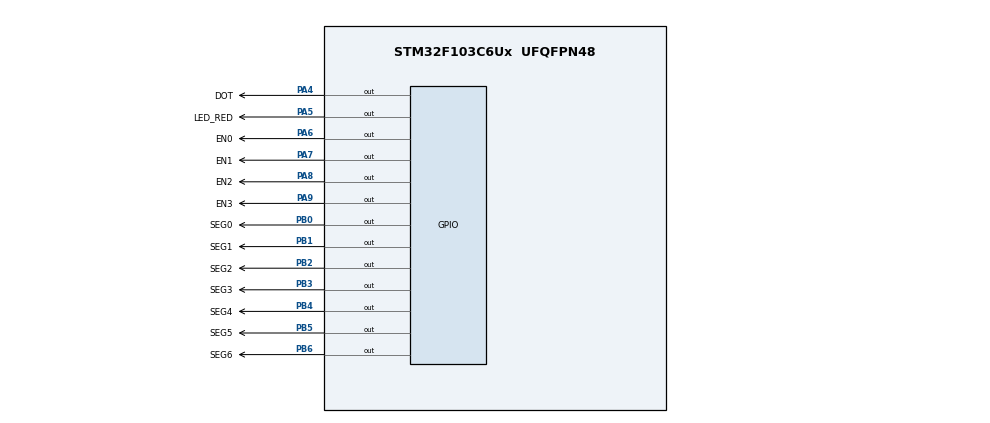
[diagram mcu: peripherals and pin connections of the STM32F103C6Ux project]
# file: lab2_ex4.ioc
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Mcu.Family=STM32F1
Mcu.Name=STM32F103C6Ux
Mcu.Package=UFQFPN48
NVIC.PriorityGroup=NVIC_PRIORITYGROUP_4
NVIC.TIM2_IRQn=true\:0\:0\:false\:false\:true\:true\:true
PA4.GPIO_Label=DOT
PA4.Signal=GPIO_Output
PA5.GPIO_Label=LED_RED
PA5.Signal=GPIO_Output
PA6.GPIO_Label=EN0
PA6.Signal=GPIO_Output
PA7.GPIO_Label=EN1
PA7.Signal=GPIO_Output
PA8.GPIO_Label=EN2
PA8.Signal=GPIO_Output
PA9.GPIO_Label=EN3
PA9.Signal=GPIO_Output
PB0.GPIO_Label=SEG0
PB0.Signal=GPIO_Output
PB1.GPIO_Label=SEG1
PB1.Signal=GPIO_Output
PB2.GPIO_Label=SEG2
PB2.Signal=GPIO_Output
PB3.GPIO_Label=SEG3
PB3.Signal=GPIO_Output
PB4.GPIO_Label=SEG4
PB4.Signal=GPIO_Output
PB5.GPIO_Label=SEG5
PB5.Signal=GPIO_Output
PB6.GPIO_Label=SEG6
PB6.Signal=GPIO_Output
ProjectManager.HeapSize=0x200
ProjectManager.StackSize=0x400
ProjectManager.TargetToolchain=STM32CubeIDE
RCC.APB1Freq_Value=8000000
RCC.APB2Freq_Value=8000000
TIM2.Period=9
TIM2.Prescaler=7999
VP_SYS_VS_ND.Mode=No_Debug
VP_TIM2_VS_ClockSourceINT.Mode=Internal
board=custom

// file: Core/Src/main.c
/* USER CODE BEGIN Header */
/**
  ******************************************************************************
  * @file           : main.c
  * @brief          : Main program body
  ******************************************************************************
  * @attention
  *
  * <h2><center>&copy; Copyright (c) 2023 STMicroelectronics.
  * All rights reserved.</center></h2>
  *
  * This software component is licensed by ST under BSD 3-Clause license,
  * the "License"; You may not use this file except in compliance with the
  * License. You may obtain a copy of the License at:
  *                        opensource.org/licenses/BSD-3-Clause
  *
  ******************************************************************************
  */
/* USER CODE END Header */
#include "main.h"

TIM_HandleTypeDef htim2;

void SystemClock_Config(void);
static void MX_GPIO_Init(void);
static void MX_TIM2_Init(void);

/* USER CODE BEGIN 0 */
//display led 7 segment
void display7SEG(int num){
	  HAL_GPIO_WritePin(SEG0_GPIO_Port, SEG0_Pin, RESET);
	  HAL_GPIO_WritePin(SEG1_GPIO_Port, SEG1_Pin, RESET);
	  HAL_GPIO_WritePin(SEG2_GPIO_Port, SEG2_Pin, RESET);
	  HAL_GPIO_WritePin(SEG3_GPIO_Port, SEG3_Pin, RESET);
	  HAL_GPIO_WritePin(SEG4_GPIO_Port, SEG4_Pin, RESET);
	  HAL_GPIO_WritePin(SEG5_GPIO_Port, SEG5_Pin, RESET);
	  HAL_GPIO_WritePin(SEG6_GPIO_Port, SEG6_Pin, RESET);
	  switch(num){
		  case 0:
			  HAL_GPIO_WritePin(SEG6_GPIO_Port, SEG6_Pin, SET);
			  break;
		  case 1:
			  HAL_GPIO_WritePin(SEG0_GPIO_Port, SEG0_Pin, SET);
			  HAL_GPIO_WritePin(SEG3_GPIO_Port, SEG3_Pin, SET);
			  HAL_GPIO_WritePin(SEG4_GPIO_Port, SEG4_Pin, SET);
			  HAL_GPIO_WritePin(SEG5_GPIO_Port, SEG5_Pin, SET);
			  HAL_GPIO_WritePin(SEG6_GPIO_Port, SEG6_Pin, SET);
			  break;
		  case 2:
			  HAL_GPIO_WritePin(SEG2_GPIO_Port, SEG2_Pin, SET);
			  HAL_GPIO_WritePin(SEG5_GPIO_Port, SEG5_Pin, SET);
			  break;
		  case 3:
			  HAL_GPIO_WritePin(SEG4_GPIO_Port, SEG4_Pin, SET);
			  HAL_GPIO_WritePin(SEG5_GPIO_Port, SEG5_Pin, SET);
			  break;
		  case 4:
			  HAL_GPIO_WritePin(SEG0_GPIO_Port, SEG0_Pin, SET);
			  HAL_GPIO_WritePin(SEG3_GPIO_Port, SEG3_Pin, SET);
			  HAL_GPIO_WritePin(SEG4_GPIO_Port, SEG4_Pin, SET);
			  break;
		  case 5:
			  HAL_GPIO_WritePin(SEG1_GPIO_Port, SEG1_Pin, SET);
			  HAL_GPIO_WritePin(SEG4_GPIO_Port, SEG4_Pin, SET);
			  break;
		  case 6:
			  HAL_GPIO_WritePin(SEG1_GPIO_Port, SEG1_Pin, SET);
			  break;
		  case 7:
			  HAL_GPIO_WritePin(SEG3_GPIO_Port, SEG3_Pin, SET);
			  HAL_GPIO_WritePin(SEG4_GPIO_Port, SEG4_Pin, SET);
			  HAL_GPIO_WritePin(SEG5_GPIO_Port, SEG5_Pin, SET);
			  HAL_GPIO_WritePin(SEG6_GPIO_Port, SEG6_Pin, SET);
			  break;
		  case 8:
			  break;
		  case 9:
			  HAL_GPIO_WritePin(SEG4_GPIO_Port, SEG4_Pin, SET);
			  break;
		  default:
			  break;
	  }
}

const int MAX_LED = 4;
int index_led = 0;
int led_buffer [4] = {2 , 5 , 4 , 9};

void update7SEG(int index){
	switch(index){
		case 0:
			// Display the first 7 SEG with led_buffer [0]
			HAL_GPIO_WritePin(EN0_GPIO_Port, EN0_Pin, 0);
			HAL_GPIO_WritePin(EN1_GPIO_Port, EN1_Pin, 1);
			HAL_GPIO_WritePin(EN2_GPIO_Port, EN2_Pin, 1);
			HAL_GPIO_WritePin(EN3_GPIO_Port, EN3_Pin, 1);
			display7SEG(led_buffer[0]);
			break;
		case 1:
			// Display the second 7 SEG with led_buffer [1]
			HAL_GPIO_WritePin(EN0_GPIO_Port, EN0_Pin, 1);
			HAL_GPIO_WritePin(EN1_GPIO_Port, EN1_Pin, 0);
			HAL_GPIO_WritePin(EN2_GPIO_Port, EN2_Pin, 1);
			HAL_GPIO_WritePin(EN3_GPIO_Port, EN3_Pin, 1);
			display7SEG(led_buffer[1]);
			break;
		case 2:
			// Display the third 7 SEG with led_buffer [2]
			HAL_GPIO_WritePin(EN0_GPIO_Port, EN0_Pin, 1);
			HAL_GPIO_WritePin(EN1_GPIO_Port, EN1_Pin, 1);
			HAL_GPIO_WritePin(EN2_GPIO_Port, EN2_Pin, 0);
			HAL_GPIO_WritePin(EN3_GPIO_Port, EN3_Pin, 1);
			display7SEG(led_buffer[2]);
			break;
		case 3:
			// Display the forth 7 SEG with led_buffer [3]
			HAL_GPIO_WritePin(EN0_GPIO_Port, EN0_Pin, 1);
			HAL_GPIO_WritePin(EN1_GPIO_Port, EN1_Pin, 1);
			HAL_GPIO_WritePin(EN2_GPIO_Port, EN2_Pin, 1);
			HAL_GPIO_WritePin(EN3_GPIO_Port, EN3_Pin, 0);
			display7SEG(led_buffer[3]);
			break;
		default:
			break;
	}
}
/* USER CODE END 0 */

int main(void)
{

  /* MCU Configuration--------------------------------------------------------*/

  /* Reset of all peripherals, Initializes the Flash interface and the Systick. */
  HAL_Init();

  /* Configure the system clock */
  SystemClock_Config();

  /* Initialize all configured peripherals */
  MX_GPIO_Init();
  MX_TIM2_Init();
  /* USER CODE BEGIN 2 */
  HAL_TIM_Base_Start_IT(&htim2);
  /* USER CODE END 2 */

  /* Infinite loop */
  while (1)
  {

  }
}

void SystemClock_Config(void)
{
  RCC_OscInitTypeDef RCC_OscInitStruct = {0};
  RCC_ClkInitTypeDef RCC_ClkInitStruct = {0};

  /** Initializes the RCC Oscillators according to the specified parameters
  * in the RCC_OscInitTypeDef structure.
  */
  RCC_OscInitStruct.OscillatorType = RCC_OSCILLATORTYPE_HSI;
  RCC_OscInitStruct.HSIState = RCC_HSI_ON;
  RCC_OscInitStruct.HSICalibrationValue = RCC_HSICALIBRATION_DEFAULT;
  RCC_OscInitStruct.PLL.PLLState = RCC_PLL_NONE;
  if (HAL_RCC_OscConfig(&RCC_OscInitStruct) != HAL_OK)
  {
    Error_Handler();
  }
  /** Initializes the CPU, AHB and APB buses clocks
  */
  RCC_ClkInitStruct.ClockType = RCC_CLOCKTYPE_HCLK|RCC_CLOCKTYPE_SYSCLK
                              |RCC_CLOCKTYPE_PCLK1|RCC_CLOCKTYPE_PCLK2;
  RCC_ClkInitStruct.SYSCLKSource = RCC_SYSCLKSOURCE_HSI;
  RCC_ClkInitStruct.AHBCLKDivider = RCC_SYSCLK_DIV1;
  RCC_ClkInitStruct.APB1CLKDivider = RCC_HCLK_DIV1;
  RCC_ClkInitStruct.APB2CLKDivider = RCC_HCLK_DIV1;

  if (HAL_RCC_ClockConfig(&RCC_ClkInitStruct, FLASH_LATENCY_0) != HAL_OK)
  {
    Error_Handler();
  }
}

static void MX_TIM2_Init(void)
{

  TIM_ClockConfigTypeDef sClockSourceConfig = {0};
  TIM_MasterConfigTypeDef sMasterConfig = {0};

  htim2.Instance = TIM2;
  htim2.Init.Prescaler = 7999;
  htim2.Init.CounterMode = TIM_COUNTERMODE_UP;
  htim2.Init.Period = 9;
  htim2.Init.ClockDivision = TIM_CLOCKDIVISION_DIV1;
  htim2.Init.AutoReloadPreload = TIM_AUTORELOAD_PRELOAD_DISABLE;
  if (HAL_TIM_Base_Init(&htim2) != HAL_OK)
  {
    Error_Handler();
  }
  sClockSourceConfig.ClockSource = TIM_CLOCKSOURCE_INTERNAL;
  if (HAL_TIM_ConfigClockSource(&htim2, &sClockSourceConfig) != HAL_OK)
  {
    Error_Handler();
  }
  sMasterConfig.MasterOutputTrigger = TIM_TRGO_RESET;
  sMasterConfig.MasterSlaveMode = TIM_MASTERSLAVEMODE_DISABLE;
  if (HAL_TIMEx_MasterConfigSynchronization(&htim2, &sMasterConfig) != HAL_OK)
  {
    Error_Handler();
  }

}

static void MX_GPIO_Init(void)
{
  GPIO_InitTypeDef GPIO_InitStruct = {0};

  /* GPIO Ports Clock Enable */
  __HAL_RCC_GPIOA_CLK_ENABLE();
  __HAL_RCC_GPIOB_CLK_ENABLE();

  /*Configure GPIO pin Output Level */
  HAL_GPIO_WritePin(GPIOA, DOT_Pin|LED_RED_Pin|EN0_Pin|EN1_Pin
                          |EN2_Pin|EN3_Pin, GPIO_PIN_RESET);

  /*Configure GPIO pin Output Level */
  HAL_GPIO_WritePin(GPIOB, SEG0_Pin|SEG1_Pin|SEG2_Pin|SEG3_Pin
                          |SEG4_Pin|SEG5_Pin|SEG6_Pin, GPIO_PIN_RESET);

  /*Configure GPIO pins : DOT_Pin LED_RED_Pin EN0_Pin EN1_Pin
                           EN2_Pin EN3_Pin */
  GPIO_InitStruct.Pin = DOT_Pin|LED_RED_Pin|EN0_Pin|EN1_Pin
                          |EN2_Pin|EN3_Pin;
  GPIO_InitStruct.Mode = GPIO_MODE_OUTPUT_PP;
  GPIO_InitStruct.Pull = GPIO_NOPULL;
  GPIO_InitStruct.Speed = GPIO_SPEED_FREQ_LOW;
  HAL_GPIO_Init(GPIOA, &GPIO_InitStruct);

  /*Configure GPIO pins : SEG0_Pin SEG1_Pin SEG2_Pin SEG3_Pin
                           SEG4_Pin SEG5_Pin SEG6_Pin */
  GPIO_InitStruct.Pin = SEG0_Pin|SEG1_Pin|SEG2_Pin|SEG3_Pin
                          |SEG4_Pin|SEG5_Pin|SEG6_Pin;
  GPIO_InitStruct.Mode = GPIO_MODE_OUTPUT_PP;
  GPIO_InitStruct.Pull = GPIO_NOPULL;
  GPIO_InitStruct.Speed = GPIO_SPEED_FREQ_LOW;
  HAL_GPIO_Init(GPIOB, &GPIO_InitStruct);

}

/* USER CODE BEGIN 4 */

int led_red_counter = 100;
int led7_counter = 25;

void HAL_TIM_PeriodElapsedCallback(TIM_HandleTypeDef *htim){
	//LED RED AND DOT
	if(led_red_counter > 0){
		led_red_counter--;
		if(led_red_counter <= 0){
			led_red_counter = 100;
			//TODO
			HAL_GPIO_TogglePin(LED_RED_GPIO_Port, LED_RED_Pin);
			HAL_GPIO_TogglePin(DOT_GPIO_Port, DOT_Pin);
		}
	}
	if(led7_counter > 0){
		led7_counter--;
		if(led7_counter <= 0){
			led7_counter = 25;
			//TODO
			if(index_led >= MAX_LED){
				index_led = 0;
			}
			update7SEG(index_led++);
		}
	}
}
/* USER CODE END 4 */

void Error_Handler(void)
{
  __disable_irq();
  while (1)
  {
  }
}

/************************ (C) COPYRIGHT STMicroelectronics *****END OF FILE****/
